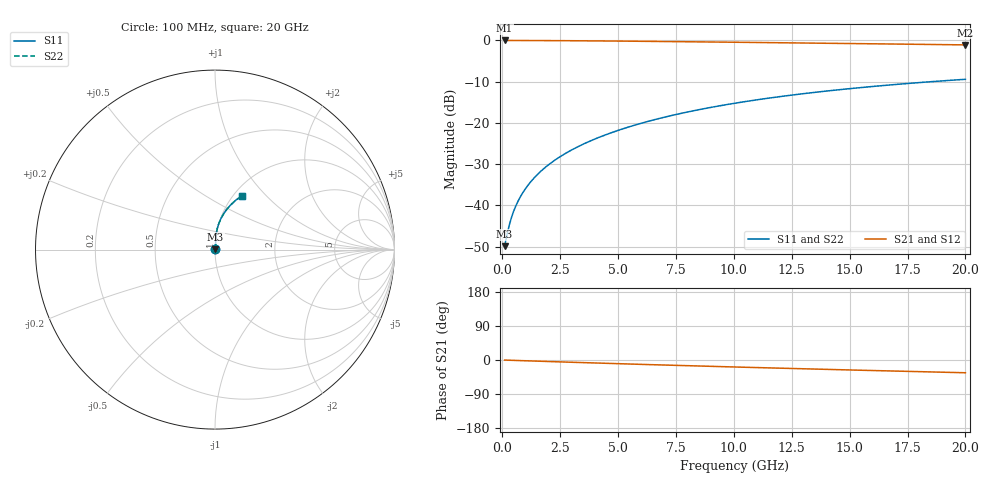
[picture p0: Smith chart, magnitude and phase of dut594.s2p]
! Touchstone file exported from HFSS 2024.1.0
!  File:  C:/UserFiles/LocalFiles/RDL_TSV_Batchsim/temp_RDL_top_594_1779682607.aedt
!  Generated:  12:19:14 PM May 25, 2026
!  Design:  RDL_top
!  Project:  temp_RDL_top_594_1779682607
!  Setup:  Setup1
!  Solution:  Sweep
! Variables:
!  dtsv = 10.80580581um
!  hbump = 3um
!  htsv = 65.74um
!  ldown = 100um
!  lrdl = 434.83um
!  p = 40
!  p1 = 56.53um
!  rhole = 1um
!  t = 450um
!  tdown = 3.915915916um
!  trdl = 2.64um
!  wdown = 15.38538539um
!  wrdl = 24um
# GHz S MA R 50.000000
! Terminal data exported
! Port[1] = Box2_T1
! Port[2] = Box2_T2
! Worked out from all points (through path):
!   200 points, 100 MHz to 20 GHz, reference 50 ohm
!   highest |S21| = -0.02 dB at 100 MHz (marker M1); lowest = -1.1 dB at 20 GHz (marker M2)
!   group delay of S21, straight-line fit = 4.63 ps
!   lowest |S11| = -49.9 dB at 100 MHz (marker M3), VSWR 1.01, Z = 50.3 + j0.17 ohm
!   |S11| at or under -10 dB: start of sweep to 18.56 GHz
!   |S22| runs from -49.9 to -9.4 dB; largest |S21 - S12| = 4.3e-15
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0.1  0.003199 31.8  0.9973 -0.2  0.9973 -0.2  0.003199 31.8
! Gamma 0 0 0 0
! Port Impedance 50 0 50 0
0.2  0.004362 50.0  0.9972 -0.4  0.9972 -0.4  0.004362 50.0
0.3  0.005741 59.5  0.997 -0.6  0.997 -0.6  0.005741 59.5
0.4  0.007175 65.0  0.9968 -0.8  0.9968 -0.8  0.007175 65.0
0.5  0.00862 68.7  0.9967 -1.0  0.9967 -1.0  0.00862 68.7
0.6  0.01007 71.4  0.9965 -1.2  0.9965 -1.2  0.01007 71.4
0.8  0.01298 75.2  0.9962 -1.6  0.9962 -1.6  0.01298 75.2
1.1  0.01739 78.7  0.9956 -2.2  0.9956 -2.2  0.01739 78.7
1.3  0.02038 80.3  0.9952 -2.6  0.9952 -2.6  0.02038 80.3
1.6  0.02492 82.0  0.9945 -3.2  0.9945 -3.2  0.02492 82.0
2.1  0.03264 83.9  0.9932 -4.2  0.9932 -4.2  0.03264 83.9
2.7  0.04216 85.1  0.9911 -5.4  0.9911 -5.4  0.04216 85.1
3.5  0.05526 85.9  0.9878 -6.9  0.9878 -6.9  0.05526 85.9
4.2  0.06711 86.0  0.9845 -8.3  0.9845 -8.3  0.0671 86.0
5  0.08102 85.7  0.9803 -9.7  0.9803 -9.7  0.08101 85.7
5.9  0.09706 85.1  0.9751 -11.4  0.9751 -11.4  0.09705 85.1
6.8  0.1134 84.1  0.9697 -13.0  0.9697 -13.0  0.1134 84.1
8.4  0.1428 81.9  0.9596 -15.7  0.9596 -15.7  0.1428 81.9
10.1  0.174 79.3  0.9486 -18.6  0.9486 -18.6  0.1739 79.3
13.4  0.2327 73.8  0.9267 -23.8  0.9267 -23.8  0.2326 73.7
16.7  0.2874 68.3  0.9042 -28.9  0.9042 -28.9  0.2873 68.3
20  0.3374 63.0  0.8813 -33.7  0.8813 -33.7  0.3373 63.0
